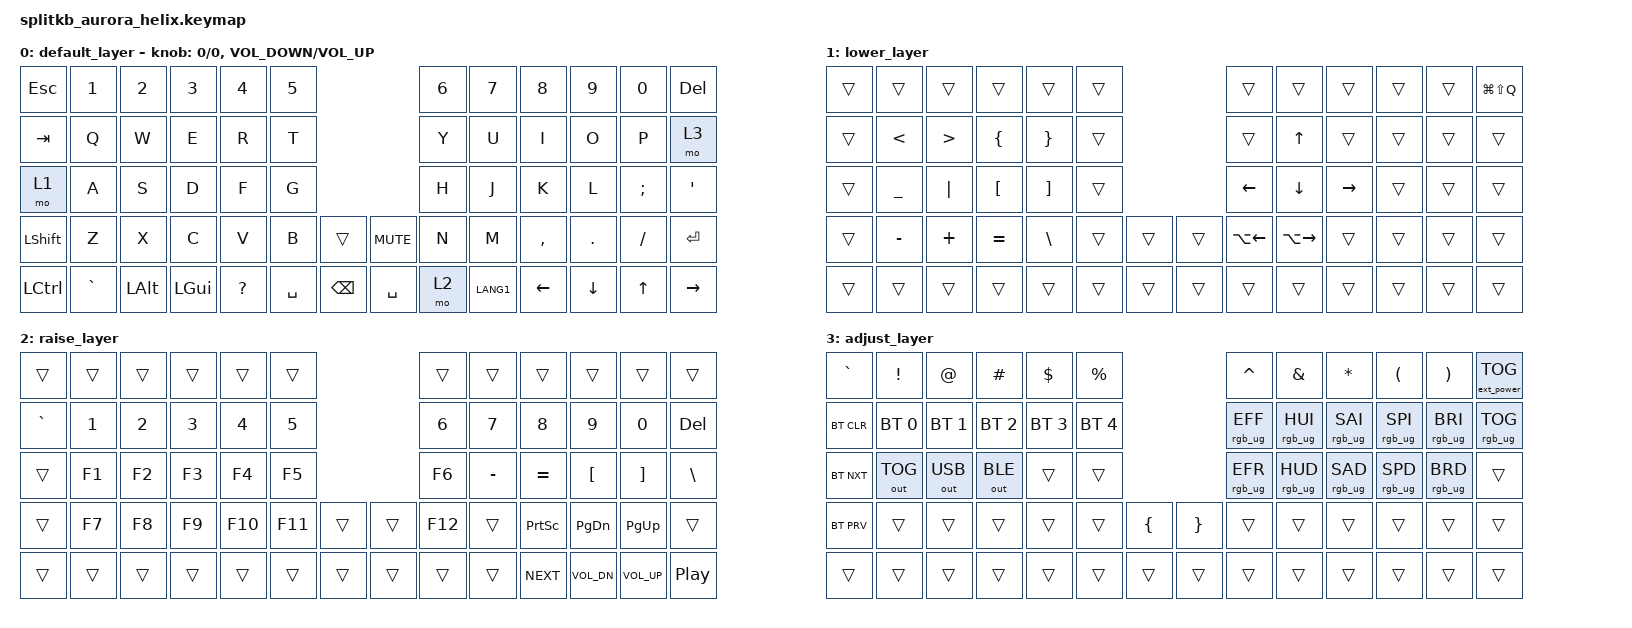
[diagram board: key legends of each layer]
/*
 * Copyright (c) 2023 The ZMK Contributors
 *
 * SPDX-License-Identifier: MIT
 */

#include <behaviors.dtsi>
#include <dt-bindings/zmk/bt.h>
#include <dt-bindings/zmk/ext_power.h>
#include <dt-bindings/zmk/keys.h>
#include <dt-bindings/zmk/outputs.h>
#include <dt-bindings/zmk/rgb.h>

#define DEFAULT 0
#define LOWER  1
#define RAISE  2
#define ADJUST 3

/* Uncomment this block if using RGB
&led_strip {
       chain-length = <6>;
       // chain-length = <38>; // Uncomment if using both per-key and underglow LEDs
       // chain-length = <32>; // Uncomment if using only per-key LEDs.
};
 */
/* NOTE: At the time of the creation of this keymap, there are no specified codes for 'eisuu' and 'kana' input in ZMK.
However, 'LANG1' and 'LANG2' are fully-functioning candidates for 'kana' and 'eisuu' input respectively.
As such, those are in use within the default layer at this time.*/

/ {
    macros {
        lock: lock {
            compatible = "zmk,behavior-macro";
            #binding-cells = <0>;
            bindings = <&kp LEFT_COMMAND &kp LEFT_CONTROL &kp Q>;
            label = "LOCK";
        };

        jump_word_left: jump_word_left {
            compatible = "zmk,behavior-macro";
            #binding-cells = <0>;
            bindings = <&macro_press>, <&kp LALT &kp LEFT>;

            label = "JUMP_WORD_LEFT";
        };
    };

    keymap {
        compatible = "zmk,keymap";

        default_layer {
            // ---------------------------------------------------------------------------------------------------------------------------------
            // |  ESC |   1    |   2    |   3    |   4    |   5    |                                      |   6    |   7    |   8    |   9    |   0    |  DEL   |
            // |  TAB   |   Q    |   W    |   E    |   R    |   T    |                                      |   Y    |   U    |   I    |   O    |   P    |  BSPC  |
            // |  CTRL  |   A    |   S    |   D    |   F    |   G    |                                      |   H    |   J    |   K    |   L    |   ;    |   '    |
            // |  SHIFT |   Z    |   X    |   C    |   V    |   B    |  LBKT  |                    |  RBKT  |   N    |   M    |   ,    |   .    |   /    |  RET   |
            // | ADJUST |  GRAVE   |  ALT   |  LGUI  | EISUU  | LOWER  | BSPC  |                    |  SPACE | RAISE  |  KANA  |  LEFT  |  DOWN  |  UP    |  RIGHT |

            bindings = <
&kp ESC    &kp N1     &kp N2    &kp N3    &kp N4        &kp N5                                  &kp N6  &kp N7     &kp N8     &kp N9      &kp N0     &kp DEL
&kp TAB    &kp Q      &kp W     &kp E     &kp R         &kp T                                   &kp Y   &kp U      &kp I      &kp O       &kp P      &mo 3
&mo 1      &kp A      &kp S     &kp D     &kp F         &kp G                                   &kp H   &kp J      &kp K      &kp L       &kp SEMI   &kp SQT
&kp LSHFT  &kp Z      &kp X     &kp C     &kp V         &kp B      &trans           &kp C_MUTE  &kp N   &kp M      &kp COMMA  &kp PERIOD  &kp SLASH  &kp RET
&kp LCTRL  &kp GRAVE  &kp LALT  &kp LGUI  &kp QUESTION  &kp SPACE  &kp BACKSPACE    &kp SPACE   &mo 2   &kp LANG1  &kp LEFT   &kp DOWN    &kp UP     &kp RIGHT
            >;

            sensor-bindings =
                <&inc_dec_kp 0 0>,
                <&inc_dec_kp C_VOLUME_DOWN C_VOLUME_UP>;
        };

        lower_layer {
            // ---------------------------------------------------------------------------------------------------------------------------------
            // |      |      |      |      |      |      |                                  |      |      |      |      |      |      |
            // |  ~   |  !   |  @   |  #   |  $   |  %   |                                  |  ^   |  &   |  *   |  (   |  )   |      |
            // |      |      |      |      |      |      |                                  |      |  _   |  +   |  {   |  }   | PIPE |
            // |      |      |      |      |      |      |  (   |                    |  )   |      |      |      | HOME | END  |      |
            // |      |      |      |      |      |      |      |                    |  ?   |      |      |      |      |      |      |

            bindings = <
&trans  &trans     &trans    &trans            &trans             &trans                    &trans          &trans         &trans     &trans  &trans  &kp LG(LS(Q))
&trans  &kp LT     &kp GT    &kp LEFT_BRACE    &kp RIGHT_BRACE    &trans                    &trans          &kp UP_ARROW   &trans     &trans  &trans  &trans
&trans  &kp UNDER  &kp PIPE  &kp LEFT_BRACKET  &kp RIGHT_BRACKET  &trans                    &kp LEFT_ARROW  &kp DOWN       &kp RIGHT  &trans  &trans  &trans
&trans  &kp MINUS  &kp PLUS  &kp EQUAL         &kp BACKSLASH      &trans  &trans    &trans  &kp LA(LEFT)    &kp LA(RIGHT)  &trans     &trans  &trans  &trans
&trans  &trans     &trans    &trans            &trans             &trans  &trans    &trans  &trans          &trans         &trans     &trans  &trans  &trans
            >;
        };

        raise_layer {
            // ---------------------------------------------------------------------------------------------------------------------------------
            // |       |       |       |       |       |       |                                    |       |       |       |       |       |       |
            // |   `   |   1   |   2   |   3   |   4   |   5   |                                    |   6   |   7   |   8   |   9   |   0   |  DEL  |
            // |       |  F1   |  F2   |  F3   |  F4   |  F5   |                                    |  F6   |   -   |   =   |   [   |   ]   |   \   |
            // |       |  F7   |  F8   |  F9   |  F10  |  F11  |       |                    |       |  F12  |       | PSCRN | PG_DN | PG_UP |       |
            // |       |       |       |       |       |       |       |                    |       |       |       | NEXT  | VOL-  | VOL+  | PLAY  |

            bindings = <
&trans     &trans  &trans  &trans  &trans   &trans                     &trans   &trans     &trans      &trans        &trans        &trans
&kp GRAVE  &kp N1  &kp N2  &kp N3  &kp N4   &kp N5                     &kp N6   &kp N7     &kp N8      &kp N9        &kp N0        &kp DEL
&trans     &kp F1  &kp F2  &kp F3  &kp F4   &kp F5                     &kp F6   &kp MINUS  &kp EQUAL   &kp LBKT      &kp RBKT      &kp BSLH
&trans     &kp F7  &kp F8  &kp F9  &kp F10  &kp F11  &trans    &trans  &kp F12  &trans     &kp PSCRN   &kp PG_DN     &kp PG_UP     &trans
&trans     &trans  &trans  &trans  &trans   &trans   &trans    &trans  &trans   &trans     &kp C_NEXT  &kp C_VOL_DN  &kp C_VOL_UP  &kp C_PP
            >;
        };

        adjust_layer {
            // ---------------------------------------------------------------------------------------------------------------------------------
            // |    `     |    !     |    @     |    #     |    $     |    %     |                                          |    ^     |    &     |    *     |    (     |    )     |  EP TOG  |
            // |  BT CLR  | BT SEL0  | BT SEL1  | BT SEL2  | BGT SEL3 | BT SEL4  |                                          | RGB EFF+ | RGB HUE+ | RGB SAT+ | RGB SPD+ | RGB BRI+ | RGB TOG  |
            // |  BT NXT  | OUT TOG  | OUT USB  | OUT BLE  |          |          |                                          | RGB EFF- | RGB HUE- | RGB SAT- | RGB SPD- | RGB BRI- |          |
            // |  BT PRV  |          |          |          |          |          |    {     |                    |    }     |          |          |          |          |          |          |
            // |          |          |          |          |          |          |          |                    |          |          |          |          |          |          |          |

            bindings = <
&kp GRAVE   &kp EXCL      &kp AT        &kp HASH      &kp DLLR      &kp PRCNT                           &kp CARET        &kp AMPS         &kp ASTRK        &kp LPAR         &kp RPAR         &ext_power EP_TOG
&bt BT_CLR  &bt BT_SEL 0  &bt BT_SEL 1  &bt BT_SEL 2  &bt BT_SEL 3  &bt BT_SEL 4                        &rgb_ug RGB_EFF  &rgb_ug RGB_HUI  &rgb_ug RGB_SAI  &rgb_ug RGB_SPI  &rgb_ug RGB_BRI  &rgb_ug RGB_TOG
&bt BT_NXT  &out OUT_TOG  &out OUT_USB  &out OUT_BLE  &trans        &trans                              &rgb_ug RGB_EFR  &rgb_ug RGB_HUD  &rgb_ug RGB_SAD  &rgb_ug RGB_SPD  &rgb_ug RGB_BRD  &trans
&bt BT_PRV  &trans        &trans        &trans        &trans        &trans        &kp LBRC    &kp RBRC  &trans           &trans           &trans           &trans           &trans           &trans
&trans      &trans        &trans        &trans        &trans        &trans        &trans      &trans    &trans           &trans           &trans           &trans           &trans           &trans
            >;
        };
    };
};
